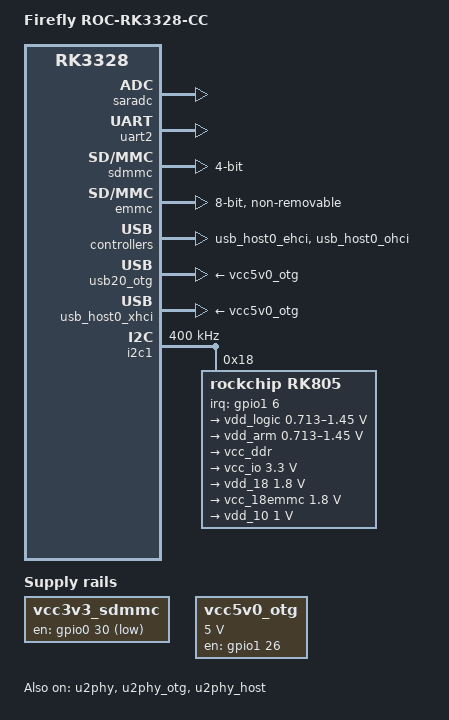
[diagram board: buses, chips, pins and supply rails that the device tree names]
/*
 * (C) Copyright 2016 Rockchip Electronics Co., Ltd
 *
 * SPDX-License-Identifier:     GPL-2.0+
 */

/dts-v1/;
#include "rk3328.dtsi"
#include "rk3328-sdram-ddr3-666.dtsi"

/ {
	model = "Firefly ROC-RK3328-CC";
	compatible = "firefly,roc-rk3328-cc", "rockchip,rk3328";

	chosen {
		stdout-path = &uart2;
	};

	vcc3v3_sdmmc: sdmmc-pwren {
		compatible = "regulator-fixed";
		regulator-name = "vcc3v3";
		gpio = <&gpio0 30 GPIO_ACTIVE_HIGH>;
		regulator-always-on;
		regulator-boot-on;
	};

	vcc5v0_otg: vcc5v0-otg-drv {
		compatible = "regulator-fixed";
		enable-active-high;
		regulator-name = "vcc5v0_otg";
		gpio = <&gpio1 26 GPIO_ACTIVE_HIGH>;
		regulator-min-microvolt = <5000000>;
		regulator-max-microvolt = <5000000>;
	};

	vcc5v0_host_xhci: vcc5v0-host-xhci-drv {
		status = "disabled";	//usb host xhci and usb otg use the same gpio to enable power
		compatible = "regulator-fixed";
		enable-active-high;
		regulator-name = "vcc5v0_host_xhci";
		gpio = <&gpio0 26 GPIO_ACTIVE_HIGH>;
		regulator-min-microvolt = <5000000>;
		regulator-max-microvolt = <5000000>;
	};

	adc-keys {
		compatible = "adc-keys";
		io-channels = <&saradc 0>;
	};
};

&saradc {
	status = "okay";
};

&uart2 {
	u-boot,dm-pre-reloc;
	status = "okay";
};

&sdmmc {
	bus-width = <4>;
	cap-mmc-highspeed;
	cap-sd-highspeed;
	card-detect-delay = <200>;
	disable-wp;
	num-slots = <1>;
	pinctrl-names = "default";
	pinctrl-0 = <&sdmmc0_clk>, <&sdmmc0_cmd>, <&sdmmc0_dectn>, <&sdmmc0_bus4>;
	status = "okay";
};

&emmc {
	u-boot,dm-pre-reloc;
	bus-width = <8>;
	cap-mmc-highspeed;
	supports-emmc;
	disable-wp;
	non-removable;
	num-slots = <1>;
	pinctrl-names = "default";
	pinctrl-0 = <&emmc_clk &emmc_cmd &emmc_bus8>;
	status = "okay";
};

&u2phy {
        status = "okay";
};

&u2phy_otg {
        status = "okay";
};

&u2phy_host {
        status = "okay";
};

&usb_host0_ehci {
	status = "okay";
};

&usb_host0_ohci {
	status = "okay";
};

&usb20_otg {
	vbus-supply = <&vcc5v0_otg>;
	status = "okay";
};

&usb_host0_xhci {
	//vbus-supply = <&vcc5v0_host_xhci>;
	vbus-supply = <&vcc5v0_otg>;
	status = "okay";
	maximum-speed = "high-speed";
};

&i2c1 {
	clock-frequency = <400000>;
	i2c-scl-rising-time-ns = <168>;
	i2c-scl-falling-time-ns = <4>;
	status = "okay";

	rk805: pmic@18 {
		compatible = "rockchip,rk805";
		status = "okay";
		reg = <0x18>;
		interrupt-parent = <&gpio1>;
		interrupts = <6 IRQ_TYPE_LEVEL_LOW>;
		pinctrl-names = "default";
		pinctrl-0 = <&pmic_int_l>;
		rockchip,system-power-controller;
		wakeup-source;
		gpio-controller;
		#gpio-cells = <2>;
		#clock-cells = <1>;
		clock-output-names = "xin32k", "rk805-clkout2";

		pwrkey {
			status = "okay";
		};

		led1 {
			label = "standby";
		};

		led2 {
			label = "power";
		};

		regulators {
			vdd_logic: DCDC_REG1 {
				regulator-name = "vdd_logic";
				regulator-min-microvolt = <712500>;
				regulator-max-microvolt = <1450000>;
				regulator-ramp-delay = <6001>;
				regulator-boot-on;
				regulator-always-on;
				regulator-state-mem {
					regulator-on-in-suspend;
					regulator-suspend-microvolt = <1000000>;
				};
			};

			vdd_arm: DCDC_REG2 {
				regulator-name = "vdd_arm";
				regulator-min-microvolt = <712500>;
				regulator-max-microvolt = <1450000>;
				regulator-ramp-delay = <6001>;
				regulator-boot-on;
				regulator-always-on;
				regulator-state-mem {
					regulator-on-in-suspend;
					regulator-suspend-microvolt = <1000000>;
				};
			};

			vcc_ddr: DCDC_REG3 {
				regulator-name = "vcc_ddr";
				regulator-boot-on;
				regulator-always-on;
				regulator-state-mem {
					regulator-on-in-suspend;
				};
			};

			vcc_io: DCDC_REG4 {
				regulator-name = "vcc_io";
				regulator-min-microvolt = <3300000>;
				regulator-max-microvolt = <3300000>;
				regulator-boot-on;
				regulator-always-on;
				regulator-state-mem {
					regulator-on-in-suspend;
					regulator-suspend-microvolt = <3300000>;
				};
			};

			vdd_18: LDO_REG1 {
				regulator-name = "vdd_18";
				regulator-min-microvolt = <1800000>;
				regulator-max-microvolt = <1800000>;
				regulator-boot-on;
				regulator-always-on;
				regulator-state-mem {
					regulator-on-in-suspend;
					regulator-suspend-microvolt = <1800000>;
				};
			};

			vcc_18emmc: LDO_REG2 {
				regulator-name = "vcc_18emmc";
				regulator-min-microvolt = <1800000>;
				regulator-max-microvolt = <1800000>;
				regulator-boot-on;
				regulator-always-on;
				regulator-state-mem {
					regulator-on-in-suspend;
					regulator-suspend-microvolt = <1800000>;
				};
			};

			vdd_10: LDO_REG3 {
				regulator-name = "vdd_10";
				regulator-min-microvolt = <1000000>;
				regulator-max-microvolt = <1000000>;
				regulator-boot-on;
				regulator-always-on;
				regulator-state-mem {
					regulator-on-in-suspend;
					regulator-suspend-microvolt = <1000000>;
				};
			};
		};
	};
};

&pinctrl {
	pmic {
		pmic_int_l: pmic-int-l {
		rockchip,pins =
			<1 RK_PD0 RK_FUNC_GPIO &pcfg_pull_up>;	/* gpio1_d0 */
		};
	};
};

